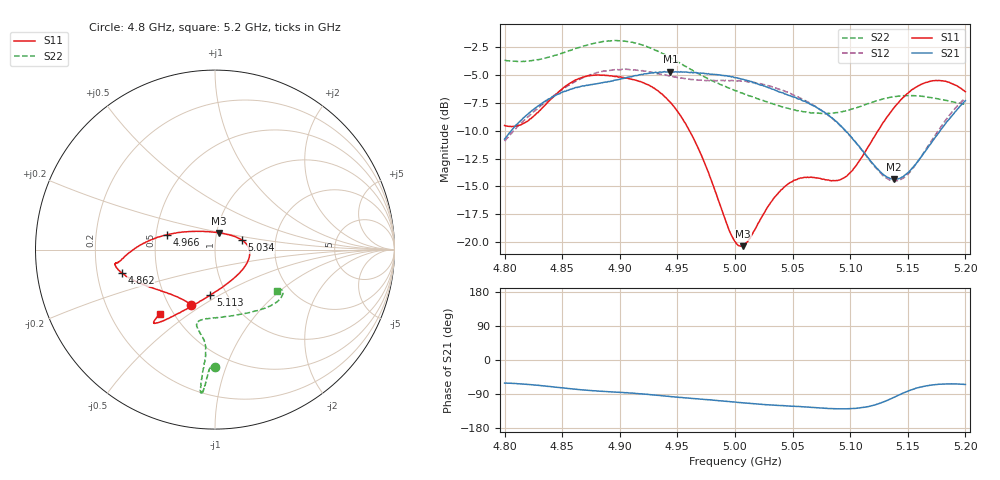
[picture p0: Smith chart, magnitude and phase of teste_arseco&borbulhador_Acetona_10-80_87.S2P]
! Network Analyzer HP8722D
! Hewlett-Packard
! Data name: Linha & Wilkinson
! Saver's name: Rodrigo Anjos
! Comments: Teste da utilização de aquisição
! continua pelo VNA HP8722D
! Time and date: 17/4/2025 15:05
!  Frequency  S11  S21  S12  S22
# HZ  S  MA R 50
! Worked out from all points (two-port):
!   401 points, 4.8 GHz to 5.2 GHz, reference 50 ohm
!   highest |S21| = -4.67 dB at 4.944 GHz (marker M1); lowest = -14.4 dB at 5.138 GHz (marker M2)
!   |S21| within 3 dB of the highest: 4.831 GHz to 5.067 GHz (236.1 MHz wide, 4.77 % of centre); 5.196413 GHz to end of sweep
!   lowest |S11| = -20.4 dB at 5.007 GHz (marker M3), VSWR 1.21, Z = 51.4 + j9.65 ohm
!   |S11| at or under -10 dB: 4.961 GHz to 5.124 GHz (163.5 MHz wide, 3.24 % of centre)
!   |S22| runs from -8.5 to -1.9 dB; largest |S21 - S12| = 0.88
!   S11 on the Smith chart (normalised r, x): 4.8 GHz: 0.64, -0.44; 4.862 GHz: 0.31, -0.11; 4.966 GHz: 0.57, +0.10; 5.034 GHz: 1.34, +0.15; 5.113 GHz: 0.84, -0.45; 5.2 GHz: 0.42, -0.39
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4.8e9  0.334 -113.6  0.2902 -60.9  0.2843 -175.1  0.656 -90.1
4.819e9  0.3473 -133.5  0.3714 -64.2  0.36 -173.7  0.6508 -91.8
4.837e9  0.4222 -150.5  0.4348 -69.5  0.432 -174.0  0.6745 -92.8
4.862e9  0.5363 -165.9  0.4953 -77.2  0.5294 -176.9  0.7424 -93.9
4.867e9  0.5479 -167.9  0.5016 -78.8  0.5446 -178.0  0.7566 -94.1
4.899e9  0.5505 -172.5  0.5378 -85.4  0.5941 175.3  0.8027 -95.4
4.934e9  0.4742 -178.3  0.5796 -93.6  0.5706 171.7  0.7154 -95.9
4.944e9  0.4236 177.2  0.5838 -96.5  0.5565 171.8  0.6736 -95.6
4.966e9  0.2784 162.7  0.5778 -102.2  0.5351 173.7  0.5794 -95.2
5e9  0.1006 100.9  0.5484 -111.2  0.5316 176.0  0.479 -99.3
5.007e9  0.09577 76.1  0.5388 -113.0  0.5284 176.1  0.465 -100.9
5.034e9  0.1583 20.2  0.4842 -119.1  0.4957 174.7  0.4162 -103.5
5.05e9  0.1871 3.8  0.4497 -122.2  0.4594 174.1  0.3945 -99.6
5.067e9  0.1951 -14.3  0.4126 -125.1  0.415 173.6  0.3801 -90.5
5.093e9  0.1926 -58.5  0.3284 -128.8  0.3261 174.0  0.3848 -70.4
5.113e9  0.2542 -95.7  0.2482 -124.4  0.2478 -179.8  0.4144 -54.9
5.134e9  0.3766 -116.7  0.1938 -104.0  0.1903 -157.0  0.4464 -43.0
5.138e9  0.4013 -118.9  0.1912 -98.6  0.188 -150.6  0.4492 -41.1
5.15e9  0.466 -124.4  0.2048 -82.5  0.2016 -132.0  0.4551 -36.8
5.17e9  0.5281 -129.0  0.2765 -66.3  0.2823 -112.4  0.4461 -32.1
5.184e9  0.525 -130.3  0.3478 -63.1  0.3595 -107.3  0.4324 -31.1
5.2e9  0.4737 -130.7  0.4317 -64.5  0.4435 -106.7  0.415 -33.4
